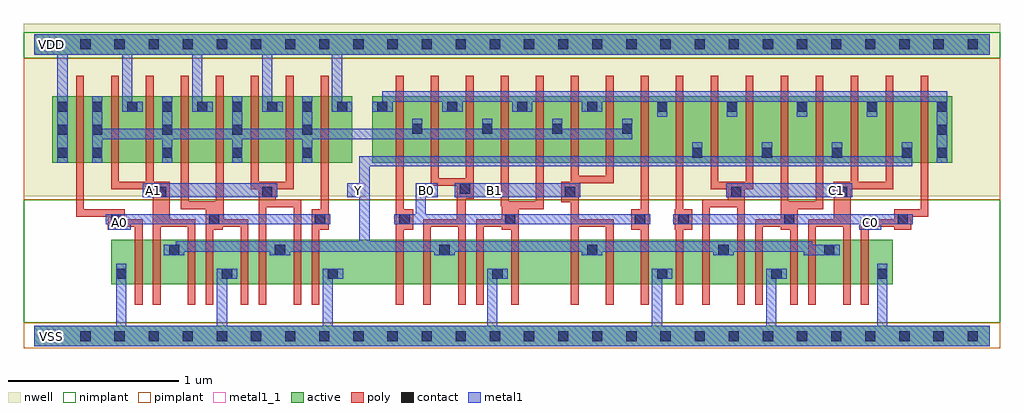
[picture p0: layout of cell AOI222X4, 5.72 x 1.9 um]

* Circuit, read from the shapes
.subckt AOI222X4 A0 A1 B0 B1 C0 C1 VDD VSS Y
M1 n1 A0 VSS VSS nfet w=0.26u l=0.045u
M2 Y A1 n1 VSS nfet w=0.26u l=0.045u
M3 n2 A1 Y VSS nfet w=0.26u l=0.045u
M4 VSS A0 n2 VSS nfet w=0.26u l=0.045u
M5 n3 A0 VSS VSS nfet w=0.26u l=0.045u
M6 Y A1 n3 VSS nfet w=0.26u l=0.045u
M7 n4 A1 Y VSS nfet w=0.26u l=0.045u
M8 VSS A0 n4 VSS nfet w=0.26u l=0.045u
M9 n5 B0 VSS VSS nfet w=0.26u l=0.045u
M10 Y B1 n5 VSS nfet w=0.26u l=0.045u
M11 n6 B1 Y VSS nfet w=0.26u l=0.045u
M12 VSS B0 n6 VSS nfet w=0.26u l=0.045u
M13 n7 B0 VSS VSS nfet w=0.26u l=0.045u
M14 Y B1 n7 VSS nfet w=0.26u l=0.045u
M15 n8 B1 Y VSS nfet w=0.26u l=0.045u
M16 VSS B0 n8 VSS nfet w=0.26u l=0.045u
M17 n9 C0 VSS VSS nfet w=0.26u l=0.045u
M18 Y C1 n9 VSS nfet w=0.26u l=0.045u
M19 n10 C1 Y VSS nfet w=0.26u l=0.045u
M20 VSS C0 n10 VSS nfet w=0.26u l=0.045u
M21 n11 C0 VSS VSS nfet w=0.26u l=0.045u
M22 Y C1 n11 VSS nfet w=0.26u l=0.045u
M23 n12 C1 Y VSS nfet w=0.26u l=0.045u
M24 VSS C0 n12 VSS nfet w=0.26u l=0.045u
M25 n13 A0 VDD VDD pfet w=0.39u l=0.045u m=4
M26 VDD A1 n13 VDD pfet w=0.39u l=0.045u m=4
M27 n13 B0 n14 VDD pfet w=0.39u l=0.045u m=4
M28 n14 B1 n13 VDD pfet w=0.39u l=0.045u m=4
M29 Y C0 n14 VDD pfet w=0.39u l=0.045u m=4
M30 n14 C1 Y VDD pfet w=0.39u l=0.045u m=4
.ends

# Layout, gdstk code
import gdstk
lib = gdstk.Library(unit=1e-6, precision=5e-10)
def R(c, l, rs):  # rectangles x0, y0, x1, y1
    for r in rs: c.add(gdstk.rectangle(r[:2], r[2:], *l))
def A(c, l, x, y, w, h, nx, ny, dx, dy):  # array of equal rectangles
    R(c, l, [(x+i*dx, y+j*dy, x+i*dx+w, y+j*dy+h) for i in range(nx) for j in range(ny)])
def P(c, l, *ps):  # polygons
    for p in ps: c.add(gdstk.Polygon(p, *l))
active = (1, 0)
nwell = (2, 0)
poly = (3, 0)
nimplant = (4, 0)
pimplant = (5, 0)
contact = (6, 0)
metal1 = (7, 0)
metal1_1 = (7, 1)

aoi222x4 = lib.new_cell('AOI222X4')
R(aoi222x4, active, [(0,-0.06,5.6,0.06), (0.45,0.305,5.03,0.565), (0.105,1.015,1.865,1.405), (1.98,1.015,5.38,1.405), (0,1.65,5.6,1.77)])
R(aoi222x4, nwell, [(-0.06,0.82,5.66,1.83)])
P(aoi222x4, poly, [(0.245,1.525),(0.29,1.525),(0.29,0.745),(0.53,0.745),(0.53,0.685),(0.635,0.685),(0.635,0.185),(0.59,0.185),(0.59,0.64),(0.53,0.64),(0.53,0.625),(0.43,0.625),(0.43,0.7),(0.245,0.7)],
  [(0.45,1.525),(0.495,1.525),(0.495,0.905),(0.655,0.905),(0.655,1.525),(0.7,1.525),(0.7,0.905),(0.795,0.905),(0.795,0.685),(0.945,0.685),(0.945,0.185),(0.9,0.185),(0.9,0.64),(0.74,0.64),(0.74,0.185),(0.695,0.185),(0.695,0.86),(0.45,0.86)],
  [(0.86,1.525),(0.905,1.525),(0.905,0.79),(1.065,0.79),(1.065,1.525),(1.11,1.525),(1.11,0.685),(1.255,0.685),(1.255,0.185),(1.21,0.185),(1.21,0.64),(1.105,0.64),(1.105,0.625),(1.05,0.625),(1.05,0.185),(1.005,0.185),(1.005,0.745),(0.86,0.745)],
  [(1.27,1.525),(1.315,1.525),(1.315,0.905),(1.475,0.905),(1.475,1.525),(1.52,1.525),(1.52,0.86),(1.415,0.86),(1.415,0.8),(1.565,0.8),(1.565,0.185),(1.52,0.185),(1.52,0.755),(1.36,0.755),(1.36,0.185),(1.315,0.185),(1.315,0.86),(1.27,0.86)],
  [(1.68,1.525),(1.725,1.525),(1.725,0.625),(1.67,0.625),(1.67,0.185),(1.625,0.185),(1.625,0.745),(1.68,0.745)],
  [(2.12,1.525),(2.165,1.525),(2.165,0.745),(2.22,0.745),(2.22,0.625),(2.165,0.625),(2.165,0.185),(2.12,0.185)],
  [(2.325,1.525),(2.37,1.525),(2.37,0.925),(2.53,0.925),(2.53,1.525),(2.575,1.525),(2.575,0.805),(2.53,0.805),(2.53,0.185),(2.485,0.185),(2.485,0.64),(2.325,0.64),(2.325,0.185),(2.28,0.185),(2.28,0.685),(2.475,0.685),(2.475,0.88),(2.325,0.88)],
  [(2.735,1.525),(2.78,1.525),(2.78,0.79),(2.94,0.79),(2.94,1.525),(2.985,1.525),(2.985,0.745),(2.84,0.745),(2.84,0.185),(2.795,0.185),(2.795,0.625),(2.74,0.625),(2.74,0.64),(2.635,0.64),(2.635,0.185),(2.59,0.185),(2.59,0.685),(2.74,0.685),(2.74,0.76),(2.735,0.76)],
  [(3.145,1.525),(3.19,1.525),(3.19,0.94),(3.35,0.94),(3.35,1.525),(3.395,1.525),(3.395,0.895),(3.19,0.895),(3.19,0.685),(3.395,0.685),(3.395,0.185),(3.35,0.185),(3.35,0.64),(3.19,0.64),(3.19,0.185),(3.145,0.185),(3.145,0.785),(3.09,0.785),(3.09,0.905),(3.145,0.905)],
  [(3.555,1.525),(3.6,1.525),(3.6,0.185),(3.555,0.185),(3.555,0.625),(3.5,0.625),(3.5,0.745),(3.555,0.745)],
  [(3.76,1.525),(3.805,1.525),(3.805,0.745),(3.855,0.745),(3.855,0.625),(3.805,0.625),(3.805,0.185),(3.76,0.185),(3.76,0.625),(3.755,0.625),(3.755,0.745),(3.76,0.745)],
  [(3.965,1.525),(4.01,1.525),(4.01,0.905),(4.17,0.905),(4.17,1.525),(4.215,1.525),(4.215,0.86),(4.165,0.86),(4.165,0.185),(4.12,0.185),(4.12,0.755),(3.96,0.755),(3.96,0.185),(3.915,0.185),(3.915,0.8),(4.065,0.8),(4.065,0.86),(3.965,0.86)],
  [(4.375,1.525),(4.42,1.525),(4.42,0.79),(4.58,0.79),(4.58,1.525),(4.625,1.525),(4.625,0.745),(4.475,0.745),(4.475,0.185),(4.43,0.185),(4.43,0.625),(4.375,0.625),(4.375,0.64),(4.27,0.64),(4.27,0.185),(4.225,0.185),(4.225,0.685),(4.375,0.685)],
  [(4.785,1.525),(4.83,1.525),(4.83,0.905),(4.99,0.905),(4.99,1.525),(5.035,1.525),(5.035,0.86),(4.785,0.86),(4.785,0.185),(4.74,0.185),(4.74,0.64),(4.58,0.64),(4.58,0.185),(4.535,0.185),(4.535,0.685),(4.685,0.685),(4.685,0.905),(4.785,0.905)],
  [(5.195,1.525),(5.24,1.525),(5.24,0.7),(5.14,0.7),(5.14,0.625),(5.04,0.625),(5.04,0.64),(4.89,0.64),(4.89,0.185),(4.845,0.185),(4.845,0.685),(5.04,0.685),(5.04,0.745),(5.195,0.745)])
R(aoi222x4, nimplant, [(-0.06,0.08,5.66,0.8), (-0.06,1.63,5.66,1.78)])
R(aoi222x4, pimplant, [(-0.06,-0.07,5.66,0.08), (-0.06,0.8,5.66,1.63)])
A(aoi222x4, contact, 0.07, -0.03, 0.06, 0.06, 28, 2, 0.2, 1.71)
A(aoi222x4, contact, 0.48, 0.335, 0.06, 0.06, 3, 1, 0.62, 0)
A(aoi222x4, contact, 0.34, 1.045, 0.06, 0.06, 4, 2, 0.41, 0.135)
A(aoi222x4, contact, 3.855, 1.045, 0.06, 0.06, 4, 1, 0.41, 0)
A(aoi222x4, contact, 2.215, 1.185, 0.06, 0.06, 4, 1, 0.41, 0)
A(aoi222x4, contact, 0.135, 1.315, 0.06, 0.06, 9, 1, 0.205, 0)
A(aoi222x4, contact, 2.01, 1.315, 0.06, 0.06, 9, 1, 0.41, 0)
R(aoi222x4, contact, [(2.685,0.335,2.745,0.395), (3.65,0.335,3.71,0.395), (4.32,0.335,4.38,0.395), (4.94,0.335,5,0.395), (0.79,0.475,0.85,0.535), (1.41,0.475,1.47,0.535), (2.375,0.475,2.435,0.535), (3.24,0.475,3.3,0.535), (4.01,0.475,4.07,0.535), (4.63,0.475,4.69,0.535), (0.45,0.655,0.51,0.715), (1.025,0.655,1.085,0.715), (1.645,0.655,1.705,0.715), (2.14,0.655,2.2,0.715), (2.76,0.655,2.82,0.715), (3.52,0.655,3.58,0.715), (3.775,0.655,3.835,0.715), (4.395,0.655,4.455,0.715), (5.06,0.655,5.12,0.715), (0.715,0.815,0.775,0.875), (1.335,0.815,1.395,0.875), (3.11,0.815,3.17,0.875), (4.085,0.815,4.145,0.875), (4.705,0.815,4.765,0.875), (2.495,0.835,2.555,0.895), (0.135,1.045,0.195,1.105), (5.29,1.045,5.35,1.105), (0.135,1.18,0.195,1.24), (5.29,1.18,5.35,1.24)])
R(aoi222x4, metal1, [(0.635,0.815,1.425,0.895), (2.465,0.815,3.2,0.895), (4.055,0.815,4.795,0.895)])
P(aoi222x4, metal1, [(0,1.77),(5.6,1.77),(5.6,1.65),(1.805,1.65),(1.805,1.375),(1.865,1.375),(1.865,1.315),(1.745,1.315),(1.745,1.65),(1.395,1.65),(1.395,1.375),(1.455,1.375),(1.455,1.315),(1.335,1.315),(1.335,1.65),(0.985,1.65),(0.985,1.375),(1.045,1.375),(1.045,1.315),(0.925,1.315),(0.925,1.65),(0.575,1.65),(0.575,1.375),(0.635,1.375),(0.635,1.315),(0.515,1.315),(0.515,1.65),(0.195,1.65),(0.195,1.015),(0.135,1.015),(0.135,1.65),(0,1.65)],
  [(0.34,1.405),(0.4,1.405),(0.4,1.215),(0.75,1.215),(0.75,1.405),(0.81,1.405),(0.81,1.215),(1.16,1.215),(1.16,1.405),(1.22,1.405),(1.22,1.215),(1.57,1.215),(1.57,1.405),(1.63,1.405),(1.63,1.215),(2.215,1.215),(2.215,1.275),(2.275,1.275),(2.275,1.215),(2.625,1.215),(2.625,1.275),(2.685,1.275),(2.685,1.215),(3.035,1.215),(3.035,1.275),(3.095,1.275),(3.095,1.215),(3.445,1.215),(3.445,1.275),(3.505,1.275),(3.505,1.155),(1.63,1.155),(1.63,1.015),(1.57,1.015),(1.57,1.155),(1.22,1.155),(1.22,1.015),(1.16,1.015),(1.16,1.155),(0.81,1.155),(0.81,1.015),(0.75,1.015),(0.75,1.155),(0.4,1.155),(0.4,1.015),(0.34,1.015)],
  [(2.04,1.435),(5.35,1.435),(5.35,1.015),(5.29,1.015),(5.29,1.375),(4.94,1.375),(4.94,1.285),(4.88,1.285),(4.88,1.375),(4.53,1.375),(4.53,1.285),(4.47,1.285),(4.47,1.375),(4.12,1.375),(4.12,1.285),(4.06,1.285),(4.06,1.375),(3.71,1.375),(3.71,1.285),(3.65,1.285),(3.65,1.375),(3.33,1.375),(3.33,1.315),(3.21,1.315),(3.21,1.375),(2.92,1.375),(2.92,1.315),(2.8,1.315),(2.8,1.375),(2.51,1.375),(2.51,1.315),(2.39,1.315),(2.39,1.375),(2.1,1.375),(2.1,1.315),(1.98,1.315),(1.98,1.375),(2.04,1.375)],
  [(3.855,1.135),(3.915,1.135),(3.915,1.055),(4.265,1.055),(4.265,1.135),(4.325,1.135),(4.325,1.055),(4.675,1.055),(4.675,1.135),(4.735,1.135),(4.735,1.055),(5.085,1.055),(5.085,1.135),(5.145,1.135),(5.145,0.995),(1.965,0.995),(1.965,0.555),(4.56,0.555),(4.56,0.535),(4.72,0.535),(4.72,0.475),(4.51,0.475),(4.51,0.495),(4.1,0.495),(4.1,0.475),(3.98,0.475),(3.98,0.495),(3.33,0.495),(3.33,0.475),(3.21,0.475),(3.21,0.495),(2.465,0.495),(2.465,0.475),(2.345,0.475),(2.345,0.495),(1.5,0.495),(1.5,0.475),(1.38,0.475),(1.38,0.495),(0.88,0.495),(0.88,0.475),(0.76,0.475),(0.76,0.535),(0.83,0.535),(0.83,0.555),(1.905,0.555),(1.905,0.815),(1.835,0.815),(1.835,0.895),(1.905,0.895),(1.905,1.055),(3.855,1.055)],
  [(0.42,0.715),(1.735,0.715),(1.735,0.655),(0.565,0.655),(0.565,0.625),(0.435,0.625),(0.435,0.655),(0.42,0.655)],
  [(2.235,0.895),(2.365,0.895),(2.365,0.815),(2.295,0.815),(2.295,0.715),(3.61,0.715),(3.61,0.655),(2.11,0.655),(2.11,0.715),(2.235,0.715)],
  [(3.745,0.715),(5.15,0.715),(5.15,0.655),(4.965,0.655),(4.965,0.625),(4.835,0.625),(4.835,0.655),(3.745,0.655)],
  [(0.48,0.425),(0.54,0.425),(0.54,0.06),(1.07,0.06),(1.07,0.395),(1.19,0.395),(1.19,0.335),(1.13,0.335),(1.13,0.06),(1.69,0.06),(1.69,0.395),(1.81,0.395),(1.81,0.335),(1.75,0.335),(1.75,0.06),(2.655,0.06),(2.655,0.395),(2.775,0.395),(2.775,0.335),(2.715,0.335),(2.715,0.06),(3.62,0.06),(3.62,0.395),(3.74,0.395),(3.74,0.335),(3.68,0.335),(3.68,0.06),(4.29,0.06),(4.29,0.395),(4.41,0.395),(4.41,0.335),(4.35,0.335),(4.35,0.06),(4.94,0.06),(4.94,0.425),(5,0.425),(5,0.06),(5.6,0.06),(5.6,-0.06),(0,-0.06),(0,0.06),(0.48,0.06)])
A(aoi222x4, metal1_1, 1.86, 0.815, 0.08, 0.08, 3, 1, 0.4, 0)
R(aoi222x4, metal1_1, [(0.06,-0.04,0.14,0.04), (0.46,0.625,0.54,0.705), (4.86,0.625,4.94,0.705), (0.66,0.815,0.74,0.895), (4.66,0.815,4.74,0.895), (0.06,1.67,0.14,1.75)])
aoi222x4.add(gdstk.Label('Y', (1.9,0.855), layer=7, texttype=1))
aoi222x4.add(gdstk.Label('B1', (2.7,0.855), layer=7, texttype=1))
aoi222x4.add(gdstk.Label('A1', (0.7,0.855), layer=7, texttype=1))
aoi222x4.add(gdstk.Label('C1', (4.7,0.855), layer=7, texttype=1))
aoi222x4.add(gdstk.Label('B0', (2.3,0.855), layer=7, texttype=1))
aoi222x4.add(gdstk.Label('C0', (4.9,0.665), layer=7, texttype=1))
aoi222x4.add(gdstk.Label('A0', (0.5,0.665), layer=7, texttype=1))
aoi222x4.add(gdstk.Label('VDD', (0.1,1.71), layer=7, texttype=1))
aoi222x4.add(gdstk.Label('VSS', (0.1,0), layer=7, texttype=1))
aoi222x4.add(gdstk.Label('AOI222X4', (0,0), layer=63, texttype=0))

lib.write_gds('AOI222X4.gds')
